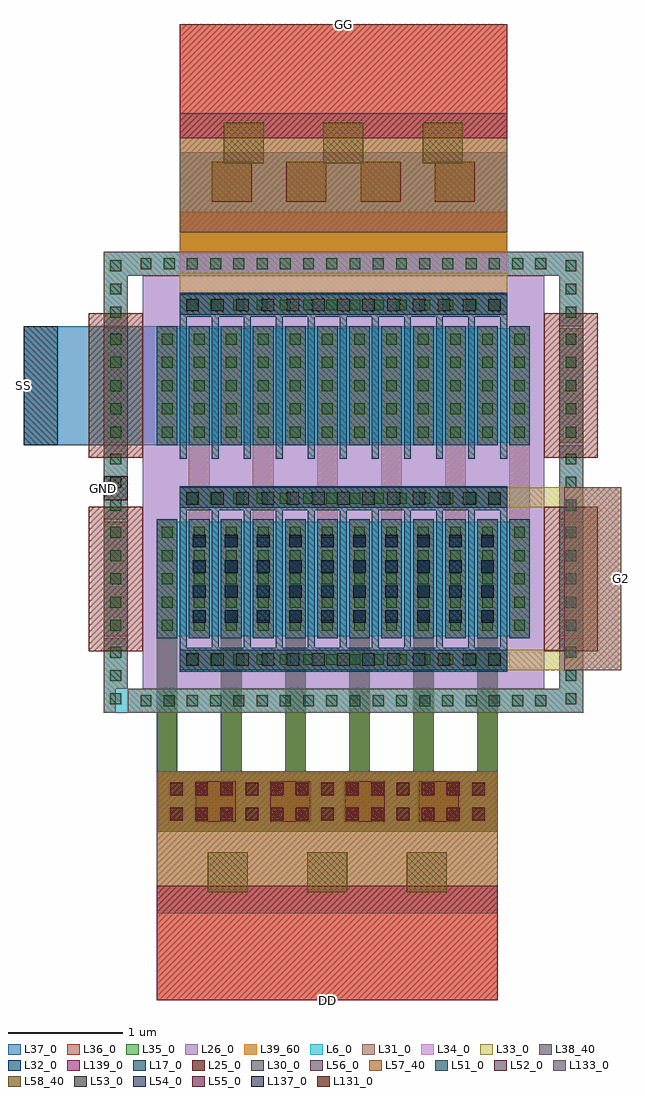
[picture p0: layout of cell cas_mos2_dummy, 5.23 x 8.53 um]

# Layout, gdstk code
import gdstk
lib = gdstk.Library(unit=1e-6, precision=1e-09)
def R(c, l, rs):  # rectangles x0, y0, x1, y1
    for r in rs: c.add(gdstk.rectangle(r[:2], r[2:], *l))
def A(c, l, x, y, w, h, nx, ny, dx, dy):  # array of equal rectangles
    R(c, l, [(x+i*dx, y+j*dy, x+i*dx+w, y+j*dy+h) for i in range(nx) for j in range(ny)])
def P(c, l, *ps):  # polygons
    for p in ps: c.add(gdstk.Polygon(p, *l))
L6_0 = (6, 0)
L17_0 = (17, 0)
L25_0 = (25, 0)
L26_0 = (26, 0)
L30_0 = (30, 0)
L31_0 = (31, 0)
L32_0 = (32, 0)
L33_0 = (33, 0)
L34_0 = (34, 0)
L35_0 = (35, 0)
L36_0 = (36, 0)
L37_0 = (37, 0)
L38_40 = (38, 40)
L39_60 = (39, 60)
L51_0 = (51, 0)
L52_0 = (52, 0)
L53_0 = (53, 0)
L54_0 = (54, 0)
L55_0 = (55, 0)
L56_0 = (56, 0)
L57_40 = (57, 40)
L58_40 = (58, 40)
L131_0 = (131, 0)
L133_0 = (133, 0)
L137_0 = (137, 0)
L139_0 = (139, 0)

cas_mos2_dummy = lib.new_cell('cas_mos2_dummy')
R(cas_mos2_dummy, L6_0, [(-0.47,-1.69,-0.26,-0.69), (0,-1.69,3.25,-0.69), (3.51,-1.69,3.72,-0.69), (-0.47,-0.67,-0.26,-0.02), (3.51,-0.67,3.72,-0.02), (-0.47,0,-0.26,1), (0,0,3.25,1), (3.51,0,3.72,1)])
P(cas_mos2_dummy, L6_0, [(-0.26,-1.71),(-0.47,-1.71),(-0.47,-2.36),(3.72,-2.36),(3.72,-1.71),(3.51,-1.71),(3.51,-2.15),(-0.26,-2.15)],
  [(-0.47,1.02),(-0.26,1.02),(-0.26,1.46),(3.51,1.46),(3.51,1.02),(3.72,1.02),(3.72,1.67),(-0.47,1.67)])
A(cas_mos2_dummy, L17_0, 0.195, -1.79, 0.06, 1.2, 11, 1, 0.28, 0)
A(cas_mos2_dummy, L17_0, 0.195, -0.14, 0.06, 1.24, 11, 1, 0.28, 0)
R(cas_mos2_dummy, L17_0, [(0.195,-2,3.055,-1.79), (0.195,-0.59,3.055,-0.38), (0.195,1.1,3.055,1.31)])
R(cas_mos2_dummy, L25_0, [(-0.6,-1.82,-0.13,-0.56), (3.38,-1.82,3.85,-0.56), (-0.6,-0.13,-0.13,1.13), (3.38,-0.13,3.85,1.13)])
R(cas_mos2_dummy, L26_0, [(-0.13,-2.15,3.38,1.46)])
A(cas_mos2_dummy, L30_0, -0.148, -2.302, 0.095, 0.095, 18, 1, 0.203, 0)
A(cas_mos2_dummy, L30_0, -0.412, -2.285, 0.095, 0.095, 1, 3, 0, 0.203)
A(cas_mos2_dummy, L30_0, 3.568, -2.285, 0.094, 0.095, 1, 3, 0, 0.203)
A(cas_mos2_dummy, L30_0, 0.258, -1.942, 0.095, 0.094, 14, 2, 0.203, 3.1)
A(cas_mos2_dummy, L30_0, -0.412, -1.643, 0.095, 0.095, 1, 5, 0, 0.203)
A(cas_mos2_dummy, L30_0, 0.037, -1.643, 0.095, 0.095, 1, 5, 0, 0.203)
A(cas_mos2_dummy, L30_0, 0.317, -1.643, 0.095, 0.095, 1, 5, 0, 0.203)
A(cas_mos2_dummy, L30_0, 0.598, -1.643, 0.094, 0.095, 6, 5, 0.28, 0.203)
A(cas_mos2_dummy, L30_0, 2.277, -1.643, 0.096, 0.095, 1, 5, 0, 0.203)
A(cas_mos2_dummy, L30_0, 2.558, -1.643, 0.094, 0.095, 3, 5, 0.28, 0.203)
A(cas_mos2_dummy, L30_0, 3.568, -1.643, 0.094, 0.095, 1, 5, 0, 0.203)
A(cas_mos2_dummy, L30_0, -0.412, -0.595, 0.095, 0.095, 1, 3, 0, 0.203)
A(cas_mos2_dummy, L30_0, 3.568, -0.595, 0.094, 0.095, 1, 3, 0, 0.203)
A(cas_mos2_dummy, L30_0, 0.258, -0.532, 0.095, 0.095, 14, 1, 0.203, 0)
A(cas_mos2_dummy, L30_0, -0.412, 0.046, 0.095, 0.095, 1, 5, 0, 0.203)
A(cas_mos2_dummy, L30_0, 0.037, 0.046, 0.095, 0.095, 1, 5, 0, 0.203)
A(cas_mos2_dummy, L30_0, 0.317, 0.046, 0.095, 0.095, 1, 5, 0, 0.203)
A(cas_mos2_dummy, L30_0, 0.598, 0.046, 0.094, 0.095, 6, 5, 0.28, 0.203)
A(cas_mos2_dummy, L30_0, 2.277, 0.046, 0.096, 0.095, 1, 5, 0, 0.203)
A(cas_mos2_dummy, L30_0, 2.558, 0.046, 0.094, 0.095, 3, 5, 0.28, 0.203)
A(cas_mos2_dummy, L30_0, 3.568, 0.046, 0.094, 0.095, 1, 5, 0, 0.203)
A(cas_mos2_dummy, L30_0, -0.412, 1.094, 0.095, 0.095, 1, 3, 0, 0.203)
A(cas_mos2_dummy, L30_0, 3.568, 1.094, 0.094, 0.095, 1, 3, 0, 0.203)
A(cas_mos2_dummy, L30_0, -0.148, 1.518, 0.095, 0.094, 18, 1, 0.203, 0)
A(cas_mos2_dummy, L31_0, -0.005, -1.71, 0.18, 1.04, 12, 2, 0.28, 1.69)
R(cas_mos2_dummy, L31_0, [(0.195,-1.99,3.055,-1.81), (0.195,-0.57,3.055,-0.39), (0.195,1.12,3.055,1.3)])
P(cas_mos2_dummy, L31_0, [(-0.365,-2.15),(-0.365,-2.36),(3.72,-2.36),(3.72,1.67),(-0.47,1.67),(-0.47,-2.36),(-0.26,-2.36),(-0.26,1.46),(3.51,1.46),(3.51,-2.15)])
A(cas_mos2_dummy, L32_0, -0.005, -1.71, 0.18, 1.04, 12, 2, 0.28, 1.69)
R(cas_mos2_dummy, L32_0, [(0.195,-1.99,3.055,-1.81), (0.195,-0.57,3.055,-0.39), (0.195,1.12,3.055,1.3)])
A(cas_mos2_dummy, L33_0, -0.005, -1.71, 0.18, 1.04, 12, 2, 0.28, 1.69)
R(cas_mos2_dummy, L33_0, [(0.195,-1.99,3.055,-1.81), (3.055,-1.99,3.555,-1.81), (3.555,-1.99,4.055,-0.39), (0.195,-0.57,3.055,-0.39), (3.055,-0.57,3.555,-0.39), (0.195,1.12,3.055,1.3), (0.195,1.3,3.055,1.48)])
A(cas_mos2_dummy, L34_0, -0.005, -1.71, 0.18, 1.04, 12, 2, 0.28, 1.69)
R(cas_mos2_dummy, L34_0, [(0.275,-0.67,0.455,-0.02), (0.275,-0.67,0.455,-0.02), (0.275,-0.67,0.455,-0.02), (0.275,-0.67,0.455,-0.02), (0.275,-0.67,0.455,-0.02), (0.835,-0.67,1.015,-0.02), (0.835,-0.67,1.015,-0.02), (0.835,-0.67,1.015,-0.02), (0.835,-0.67,1.015,-0.02), (0.835,-0.67,1.015,-0.02), (1.395,-0.67,1.575,-0.02), (1.395,-0.67,1.575,-0.02), (1.395,-0.67,1.575,-0.02), (1.395,-0.67,1.575,-0.02), (1.395,-0.67,1.575,-0.02), (1.955,-0.67,2.135,-0.02), (1.955,-0.67,2.135,-0.02), (1.955,-0.67,2.135,-0.02), (1.955,-0.67,2.135,-0.02), (1.955,-0.67,2.135,-0.02), (2.515,-0.67,2.695,-0.02), (2.515,-0.67,2.695,-0.02), (2.515,-0.67,2.695,-0.02), (2.515,-0.67,2.695,-0.02), (2.515,-0.67,2.695,-0.02), (3.075,-0.67,3.255,1.02), (0.195,1.3,3.055,1.66)])
A(cas_mos2_dummy, L35_0, -0.005, -1.71, 0.18, 1.04, 12, 2, 0.28, 1.69)
R(cas_mos2_dummy, L35_0, [(-0.005,-3.4,2.975,-2.87), (-0.005,-2.87,0.175,-1.71), (-0.005,-2.87,0.175,-1.71), (-0.005,-2.87,0.175,-1.71), (-0.005,-2.87,0.175,-1.71), (0.555,-2.87,0.735,-1.71), (0.555,-2.87,0.735,-1.71), (0.555,-2.87,0.735,-1.71), (0.555,-2.87,0.735,-1.71), (0.555,-2.87,0.735,-1.71), (1.115,-2.87,1.295,-1.71), (1.115,-2.87,1.295,-1.71), (1.115,-2.87,1.295,-1.71), (1.115,-2.87,1.295,-1.71), (1.115,-2.87,1.295,-1.71), (1.675,-2.87,1.855,-1.71), (1.675,-2.87,1.855,-1.71), (1.675,-2.87,1.855,-1.71), (1.675,-2.87,1.855,-1.71), (1.675,-2.87,1.855,-1.71), (2.235,-2.87,2.415,-1.71), (2.235,-2.87,2.415,-1.71), (2.235,-2.87,2.415,-1.71), (2.235,-2.87,2.415,-1.71), (2.235,-2.87,2.415,-1.71), (2.795,-2.87,2.975,-1.71), (2.795,-2.87,2.975,-1.71), (2.795,-2.87,2.975,-1.71), (2.795,-2.87,2.975,-1.71), (2.795,-2.87,2.975,-1.71), (-0.005,-2.36,0.175,-1.71), (3.075,-1.71,3.255,-0.67), (3.075,-1.71,3.255,-0.67), (3.075,-1.71,3.255,-0.67), (3.075,-1.71,3.255,-0.67), (3.075,-1.71,3.255,-0.67), (0.275,-0.67,0.455,-0.02), (0.275,-0.67,0.455,-0.02), (0.275,-0.67,0.455,-0.02), (0.275,-0.67,0.455,-0.02), (0.275,-0.67,0.455,-0.02), (0.835,-0.67,1.015,-0.02), (0.835,-0.67,1.015,-0.02), (0.835,-0.67,1.015,-0.02), (0.835,-0.67,1.015,-0.02), (0.835,-0.67,1.015,-0.02), (1.395,-0.67,1.575,-0.02), (1.395,-0.67,1.575,-0.02), (1.395,-0.67,1.575,-0.02), (1.395,-0.67,1.575,-0.02), (1.395,-0.67,1.575,-0.02), (1.955,-0.67,2.135,-0.02), (1.955,-0.67,2.135,-0.02), (1.955,-0.67,2.135,-0.02), (1.955,-0.67,2.135,-0.02), (1.955,-0.67,2.135,-0.02), (2.515,-0.67,2.695,-0.02), (2.515,-0.67,2.695,-0.02), (2.515,-0.67,2.695,-0.02), (2.515,-0.67,2.695,-0.02), (2.515,-0.67,2.695,-0.02), (3.075,-0.67,3.255,1.02), (0.195,1.48,3.055,1.84)])
R(cas_mos2_dummy, L36_0, [(-0.005,-3.4,2.975,-2.87), (-0.005,-2.87,0.175,-1.71), (-0.005,-2.87,0.175,-1.71), (-0.005,-2.87,0.175,-1.71), (-0.005,-2.87,0.175,-1.71), (0.555,-2.87,0.735,-1.71), (0.555,-2.87,0.735,-1.71), (0.555,-2.87,0.735,-1.71), (0.555,-2.87,0.735,-1.71), (0.555,-2.87,0.735,-1.71), (1.115,-2.87,1.295,-1.71), (1.115,-2.87,1.295,-1.71), (1.115,-2.87,1.295,-1.71), (1.115,-2.87,1.295,-1.71), (1.115,-2.87,1.295,-1.71), (1.675,-2.87,1.855,-1.71), (1.675,-2.87,1.855,-1.71), (1.675,-2.87,1.855,-1.71), (1.675,-2.87,1.855,-1.71), (1.675,-2.87,1.855,-1.71), (2.235,-2.87,2.415,-1.71), (2.235,-2.87,2.415,-1.71), (2.235,-2.87,2.415,-1.71), (2.235,-2.87,2.415,-1.71), (2.235,-2.87,2.415,-1.71), (2.795,-2.87,2.975,-1.71), (2.795,-2.87,2.975,-1.71), (2.795,-2.87,2.975,-1.71), (2.795,-2.87,2.975,-1.71), (2.795,-2.87,2.975,-1.71), (-0.005,-2.36,0.175,-1.71), (-0.005,-1.71,0.175,-0.67), (-0.005,-1.71,0.175,-0.67), (-0.005,-1.71,0.175,-0.67), (-0.005,-1.71,0.175,-0.67), (-0.005,-1.71,0.175,-0.67), (0.555,-1.71,0.735,-0.67), (0.555,-1.71,0.735,-0.67), (0.555,-1.71,0.735,-0.67), (0.555,-1.71,0.735,-0.67), (0.555,-1.71,0.735,-0.67), (1.115,-1.71,1.295,-0.67), (1.115,-1.71,1.295,-0.67), (1.115,-1.71,1.295,-0.67), (1.115,-1.71,1.295,-0.67), (1.115,-1.71,1.295,-0.67), (1.675,-1.71,1.855,-0.67), (1.675,-1.71,1.855,-0.67), (1.675,-1.71,1.855,-0.67), (1.675,-1.71,1.855,-0.67), (1.675,-1.71,1.855,-0.67), (2.235,-1.71,2.415,-0.67), (2.235,-1.71,2.415,-0.67), (2.235,-1.71,2.415,-0.67), (2.235,-1.71,2.415,-0.67), (2.235,-1.71,2.415,-0.67), (2.795,-1.71,2.975,-0.67), (2.795,-1.71,2.975,-0.67), (2.795,-1.71,2.975,-0.67), (2.795,-1.71,2.975,-0.67), (2.795,-1.71,2.975,-0.67), (-0.005,-0.02,0.175,1.02), (0.555,-0.02,0.735,1.02), (0.555,-0.02,0.735,1.02), (0.555,-0.02,0.735,1.02), (0.555,-0.02,0.735,1.02), (0.555,-0.02,0.735,1.02), (1.115,-0.02,1.295,1.02), (1.115,-0.02,1.295,1.02), (1.115,-0.02,1.295,1.02), (1.115,-0.02,1.295,1.02), (1.115,-0.02,1.295,1.02), (1.675,-0.02,1.855,1.02), (1.675,-0.02,1.855,1.02), (1.675,-0.02,1.855,1.02), (1.675,-0.02,1.855,1.02), (1.675,-0.02,1.855,1.02), (2.235,-0.02,2.415,1.02), (2.235,-0.02,2.415,1.02), (2.235,-0.02,2.415,1.02), (2.235,-0.02,2.415,1.02), (2.235,-0.02,2.415,1.02), (2.795,-0.02,2.975,1.02), (2.795,-0.02,2.975,1.02), (2.795,-0.02,2.975,1.02), (2.795,-0.02,2.975,1.02), (2.795,-0.02,2.975,1.02), (0.195,1.66,3.055,2.02)])
R(cas_mos2_dummy, L37_0, [(-0.005,-3.4,2.975,-2.87), (-0.005,-2.87,0.175,-1.71), (-0.005,-2.87,0.175,-1.71), (-0.005,-2.87,0.175,-1.71), (-0.005,-2.87,0.175,-1.71), (0.555,-2.87,0.735,-1.71), (0.555,-2.87,0.735,-1.71), (0.555,-2.87,0.735,-1.71), (0.555,-2.87,0.735,-1.71), (0.555,-2.87,0.735,-1.71), (1.115,-2.87,1.295,-1.71), (1.115,-2.87,1.295,-1.71), (1.115,-2.87,1.295,-1.71), (1.115,-2.87,1.295,-1.71), (1.115,-2.87,1.295,-1.71), (1.675,-2.87,1.855,-1.71), (1.675,-2.87,1.855,-1.71), (1.675,-2.87,1.855,-1.71), (1.675,-2.87,1.855,-1.71), (1.675,-2.87,1.855,-1.71), (2.235,-2.87,2.415,-1.71), (2.235,-2.87,2.415,-1.71), (2.235,-2.87,2.415,-1.71), (2.235,-2.87,2.415,-1.71), (2.235,-2.87,2.415,-1.71), (2.795,-2.87,2.975,-1.71), (2.795,-2.87,2.975,-1.71), (2.795,-2.87,2.975,-1.71), (2.795,-2.87,2.975,-1.71), (2.795,-2.87,2.975,-1.71), (-0.005,-2.36,0.175,-1.71), (-0.005,-1.71,0.175,-0.67), (-0.005,-1.71,0.175,-0.67), (-0.005,-1.71,0.175,-0.67), (-0.005,-1.71,0.175,-0.67), (-0.005,-1.71,0.175,-0.67), (0.555,-1.71,0.735,-0.67), (0.555,-1.71,0.735,-0.67), (0.555,-1.71,0.735,-0.67), (0.555,-1.71,0.735,-0.67), (0.555,-1.71,0.735,-0.67), (1.115,-1.71,1.295,-0.67), (1.115,-1.71,1.295,-0.67), (1.115,-1.71,1.295,-0.67), (1.115,-1.71,1.295,-0.67), (1.115,-1.71,1.295,-0.67), (1.675,-1.71,1.855,-0.67), (1.675,-1.71,1.855,-0.67), (1.675,-1.71,1.855,-0.67), (1.675,-1.71,1.855,-0.67), (1.675,-1.71,1.855,-0.67), (2.235,-1.71,2.415,-0.67), (2.235,-1.71,2.415,-0.67), (2.235,-1.71,2.415,-0.67), (2.235,-1.71,2.415,-0.67), (2.235,-1.71,2.415,-0.67), (2.795,-1.71,2.975,-0.67), (2.795,-1.71,2.975,-0.67), (2.795,-1.71,2.975,-0.67), (2.795,-1.71,2.975,-0.67), (2.795,-1.71,2.975,-0.67), (-1.17,-0.02,2.975,1.02), (0.195,1.84,3.055,2.54)])
R(cas_mos2_dummy, L38_40, [(-0.005,-4.11,2.975,-2.87), (0.195,1.84,3.055,2.88)])
R(cas_mos2_dummy, L39_60, [(-0.005,-4.87,2.975,-2.87), (0.195,1.66,3.055,3.66)])
A(cas_mos2_dummy, L51_0, 0.25, -1.95, 0.11, 0.11, 13, 2, 0.22, 1.41)
A(cas_mos2_dummy, L51_0, 0.31, -1.575, 0.11, 0.11, 10, 4, 0.28, 0.22)
A(cas_mos2_dummy, L51_0, 0.25, 1.15, 0.11, 0.11, 13, 1, 0.22, 0)
A(cas_mos2_dummy, L52_0, 0.25, -1.95, 0.11, 0.11, 13, 2, 0.22, 1.41)
A(cas_mos2_dummy, L52_0, 0.31, -1.575, 0.11, 0.11, 10, 4, 0.28, 0.22)
A(cas_mos2_dummy, L52_0, 0.25, 1.15, 0.11, 0.11, 13, 1, 0.22, 0)
A(cas_mos2_dummy, L53_0, 0.31, -1.575, 0.11, 0.11, 10, 4, 0.28, 0.22)
A(cas_mos2_dummy, L54_0, 0.31, -1.575, 0.11, 0.11, 10, 4, 0.28, 0.22)
A(cas_mos2_dummy, L55_0, 0.11, -3.3, 0.11, 0.11, 13, 2, 0.22, 0.22)
A(cas_mos2_dummy, L56_0, 0.11, -3.3, 0.11, 0.11, 13, 2, 0.22, 0.22)
R(cas_mos2_dummy, L56_0, [(0.59,-1.575,0.7,-1.465), (0.59,-1.575,0.7,-1.465), (0.59,-1.575,0.7,-1.465), (0.59,-1.575,0.7,-1.465), (0.59,-1.575,0.7,-1.465), (1.15,-1.575,1.26,-1.465), (1.15,-1.575,1.26,-1.465), (1.15,-1.575,1.26,-1.465), (1.15,-1.575,1.26,-1.465), (1.15,-1.575,1.26,-1.465), (1.71,-1.575,1.82,-1.465), (1.71,-1.575,1.82,-1.465), (1.71,-1.575,1.82,-1.465), (1.71,-1.575,1.82,-1.465), (1.71,-1.575,1.82,-1.465), (2.27,-1.575,2.38,-1.465), (2.27,-1.575,2.38,-1.465), (2.27,-1.575,2.38,-1.465), (2.27,-1.575,2.38,-1.465), (2.27,-1.575,2.38,-1.465), (2.83,-1.575,2.94,-1.465), (2.83,-1.575,2.94,-1.465), (2.83,-1.575,2.94,-1.465), (2.83,-1.575,2.94,-1.465), (2.83,-1.575,2.94,-1.465), (0.59,-1.355,0.7,-1.245), (0.59,-1.355,0.7,-1.245), (0.59,-1.355,0.7,-1.245), (0.59,-1.355,0.7,-1.245), (0.59,-1.355,0.7,-1.245), (1.15,-1.355,1.26,-1.245), (1.15,-1.355,1.26,-1.245), (1.15,-1.355,1.26,-1.245), (1.15,-1.355,1.26,-1.245), (1.15,-1.355,1.26,-1.245), (1.71,-1.355,1.82,-1.245), (1.71,-1.355,1.82,-1.245), (1.71,-1.355,1.82,-1.245), (1.71,-1.355,1.82,-1.245), (1.71,-1.355,1.82,-1.245), (2.27,-1.355,2.38,-1.245), (2.27,-1.355,2.38,-1.245), (2.27,-1.355,2.38,-1.245), (2.27,-1.355,2.38,-1.245), (2.27,-1.355,2.38,-1.245), (2.83,-1.355,2.94,-1.245), (2.83,-1.355,2.94,-1.245), (2.83,-1.355,2.94,-1.245), (2.83,-1.355,2.94,-1.245), (2.83,-1.355,2.94,-1.245), (0.59,-1.135,0.7,-1.025), (0.59,-1.135,0.7,-1.025), (0.59,-1.135,0.7,-1.025), (0.59,-1.135,0.7,-1.025), (0.59,-1.135,0.7,-1.025), (1.15,-1.135,1.26,-1.025), (1.15,-1.135,1.26,-1.025), (1.15,-1.135,1.26,-1.025), (1.15,-1.135,1.26,-1.025), (1.15,-1.135,1.26,-1.025), (1.71,-1.135,1.82,-1.025), (1.71,-1.135,1.82,-1.025), (1.71,-1.135,1.82,-1.025), (1.71,-1.135,1.82,-1.025), (1.71,-1.135,1.82,-1.025), (2.27,-1.135,2.38,-1.025), (2.27,-1.135,2.38,-1.025), (2.27,-1.135,2.38,-1.025), (2.27,-1.135,2.38,-1.025), (2.27,-1.135,2.38,-1.025), (2.83,-1.135,2.94,-1.025), (2.83,-1.135,2.94,-1.025), (2.83,-1.135,2.94,-1.025), (2.83,-1.135,2.94,-1.025), (2.83,-1.135,2.94,-1.025), (0.59,-0.915,0.7,-0.805), (0.59,-0.915,0.7,-0.805), (0.59,-0.915,0.7,-0.805), (0.59,-0.915,0.7,-0.805), (0.59,-0.915,0.7,-0.805), (1.15,-0.915,1.26,-0.805), (1.15,-0.915,1.26,-0.805), (1.15,-0.915,1.26,-0.805), (1.15,-0.915,1.26,-0.805), (1.15,-0.915,1.26,-0.805), (1.71,-0.915,1.82,-0.805), (1.71,-0.915,1.82,-0.805), (1.71,-0.915,1.82,-0.805), (1.71,-0.915,1.82,-0.805), (1.71,-0.915,1.82,-0.805), (2.27,-0.915,2.38,-0.805), (2.27,-0.915,2.38,-0.805), (2.27,-0.915,2.38,-0.805), (2.27,-0.915,2.38,-0.805), (2.27,-0.915,2.38,-0.805), (2.83,-0.915,2.94,-0.805), (2.83,-0.915,2.94,-0.805), (2.83,-0.915,2.94,-0.805), (2.83,-0.915,2.94,-0.805), (2.83,-0.915,2.94,-0.805)])
A(cas_mos2_dummy, L57_40, 0.335, -3.31, 0.35, 0.35, 4, 1, 0.65, 0)
A(cas_mos2_dummy, L57_40, 0.475, 2.105, 0.35, 0.35, 4, 1, 0.65, 0)
A(cas_mos2_dummy, L58_40, 0.44, -3.93, 0.35, 0.35, 3, 1, 0.87, 0)
A(cas_mos2_dummy, L58_40, 0.58, 2.445, 0.35, 0.35, 3, 1, 0.87, 0)
R(cas_mos2_dummy, L131_0, [(-0.47,-0.502,-0.26,-0.292)])
R(cas_mos2_dummy, L133_0, [(3.555,-1.99,4.055,-0.39)])
R(cas_mos2_dummy, L137_0, [(-1.17,-0.02,-0.87,1.02)])
R(cas_mos2_dummy, L139_0, [(-0.005,-4.87,2.975,-3.87), (0.195,2.66,3.055,3.66)])
cas_mos2_dummy.add(gdstk.Label('SS', (-1.17,0.5), layer=137, texttype=0))
cas_mos2_dummy.add(gdstk.Label('GG', (1.625,3.66), layer=139, texttype=0))
cas_mos2_dummy.add(gdstk.Label('DD', (1.485,-4.87), layer=139, texttype=0))
cas_mos2_dummy.add(gdstk.Label('G2', (4.055,-1.19), layer=133, texttype=0))
cas_mos2_dummy.add(gdstk.Label('GND', (-0.47,-0.397), layer=131, texttype=0))

lib.write_gds('cas_mos2_dummy.gds')
